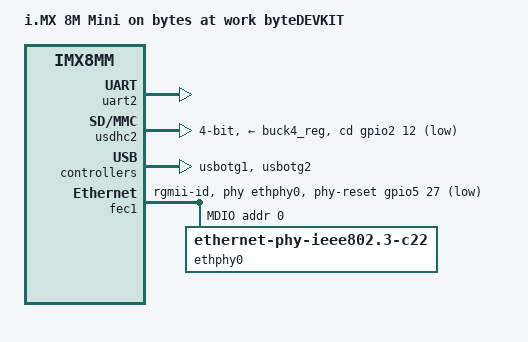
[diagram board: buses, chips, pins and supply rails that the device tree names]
/*
 * Copyright (C) 2022 bytes at work AG. All Rights Reserved.
 *
 * Based on: fsl-imx8mm-evk.dts
 * Copyright 2018 NXP
 *
 * This program is free software; you can redistribute it and/or
 * modify it under the terms of the GNU General Public License
 * as published by the Free Software Foundation; either version 2
 * of the License, or (at your option) any later version.
 *
 * This program is distributed in the hope that it will be useful,
 * but WITHOUT ANY WARRANTY; without even the implied warranty of
 * MERCHANTABILITY or FITNESS FOR A PARTICULAR PURPOSE.  See the
 * GNU General Public License for more details.
 */

/dts-v1/;

#include "imx8mm.dtsi"
#include "imx8mm-byteengine-m6.dtsi"
#include <dt-bindings/net/ti-dp83867.h>

/ {
	model = "i.MX 8M Mini on bytes at work byteDEVKIT";
	compatible = "bytesatwork,bytedevkit", "fsl,imx8mm";

	chosen {
		bootargs = "console=ttymxc1,115200 earlycon=ec_imx6q,0x30890000,115200";
		stdout-path = &uart2;
	};
};

&iomuxc {
	pinctrl_uart2: uart2grp {
		fsl,pins = <
			MX8MM_IOMUXC_UART2_RXD_UART2_DCE_RX	0x49
			MX8MM_IOMUXC_UART2_TXD_UART2_DCE_TX	0x49
		>;
	};

	pinctrl_usdhc2_gpio: usdhc2grpgpio {
		fsl,pins = <
			MX8MM_IOMUXC_SD2_RESET_B_GPIO2_IO19	0x41
			MX8MM_IOMUXC_SD2_CD_B_GPIO2_IO12	0x41
		>;
	};

	pinctrl_usdhc2: usdhc2grp {
		fsl,pins = <
			MX8MM_IOMUXC_SD2_CLK_USDHC2_CLK		0x190
			MX8MM_IOMUXC_SD2_CMD_USDHC2_CMD		0x1d0
			MX8MM_IOMUXC_SD2_DATA0_USDHC2_DATA0	0x1d0
			MX8MM_IOMUXC_SD2_DATA1_USDHC2_DATA1	0x1d0
			MX8MM_IOMUXC_SD2_DATA2_USDHC2_DATA2	0x1d0
			MX8MM_IOMUXC_SD2_DATA3_USDHC2_DATA3	0x1d0
			MX8MM_IOMUXC_GPIO1_IO04_USDHC2_VSELECT	0x1d0
		>;
	};

	pinctrl_fec1: fec1grp {
		fsl,pins = <
			MX8MM_IOMUXC_ENET_MDC_ENET1_MDC			0x3     /* AC27  ENET_MDC */
			MX8MM_IOMUXC_ENET_MDIO_ENET1_MDIO		0x3     /* AB27  ENET_MDIO */
			MX8MM_IOMUXC_ENET_TD3_ENET1_RGMII_TD3		0x1f    /* AF25  ENET_TD3 */
			MX8MM_IOMUXC_ENET_TD2_ENET1_RGMII_TD2		0x1f    /* AG25  ENET_TD2 */
			MX8MM_IOMUXC_ENET_TD1_ENET1_RGMII_TD1		0x1f    /* AF26  ENET_TD1 */
			MX8MM_IOMUXC_ENET_TD0_ENET1_RGMII_TD0		0x1f    /* AG26  ENET_TD0 */
			MX8MM_IOMUXC_ENET_RD3_ENET1_RGMII_RD3		0x91    /* AC26  ENET_RD3 */
			MX8MM_IOMUXC_ENET_RD2_ENET1_RGMII_RD2		0x91    /* AD26  ENET_RD2 */
			MX8MM_IOMUXC_ENET_RD1_ENET1_RGMII_RD1		0x91    /* AD27  ENET_RD1 */
			MX8MM_IOMUXC_ENET_RD0_ENET1_RGMII_RD0		0x91    /* AE27  ENET_RD0 */
			MX8MM_IOMUXC_ENET_TXC_ENET1_RGMII_TXC		0x1f    /* AG24  ENET_TXC */
			MX8MM_IOMUXC_ENET_RXC_ENET1_RGMII_RXC		0x91    /* AE26  ENET_RXC */
			MX8MM_IOMUXC_ENET_RX_CTL_ENET1_RGMII_RX_CTL	0x91    /* AF27  ENET_RX_CTL */
			MX8MM_IOMUXC_ENET_TX_CTL_ENET1_RGMII_TX_CTL	0x1f    /* AF24  ENET_TX_CTL */
			MX8MM_IOMUXC_UART3_TXD_GPIO5_IO27		0x6     /* D18   ETH_RESET~ */
		>;
	};
};

/* Console */
&uart2 {
	pinctrl-names = "default";
	pinctrl-0 = <&pinctrl_uart2>;
	status = "okay";
};

/* SD Card */
&usdhc2 {
	pinctrl-names = "default";
	pinctrl-0 = <&pinctrl_usdhc2>, <&pinctrl_usdhc2_gpio>;
	bus-width = <4>;
	cd-gpios = <&gpio2 12 GPIO_ACTIVE_LOW>;
	vmmc-supply = <&buck4_reg>;	/* byteDEVKIT only supports 3.3V I/O voltage */
	no-1-8-v;
	status = "okay";
};

&usbotg1 {
	status = "okay";
};

&usbotg2 {
	status = "okay";
};

&fec1 {
	pinctrl-names = "default";
	pinctrl-0 = <&pinctrl_fec1>;
	phy-mode = "rgmii-id";
	phy-handle = <&ethphy0>;
	fsl,magic-packet;
	phy-reset-gpios = <&gpio5 27 GPIO_ACTIVE_LOW>;
	status = "okay";

	mdio {
		#address-cells = <1>;
		#size-cells = <0>;

		ethphy0: ethernet-phy@0 {
			compatible = "ethernet-phy-ieee802.3-c22";
			reg = <0>;
			ti,rx-internal-delay = <DP83867_RGMIIDCTL_250_PS>;
			ti,tx-internal-delay = <DP83867_RGMIIDCTL_250_PS>;
			ti,fifo-depth = <DP83867_PHYCR_FIFO_DEPTH_8_B_NIB>;
			ti,dp83867-rxctrl-strap-quirk;
		};
	};
};
